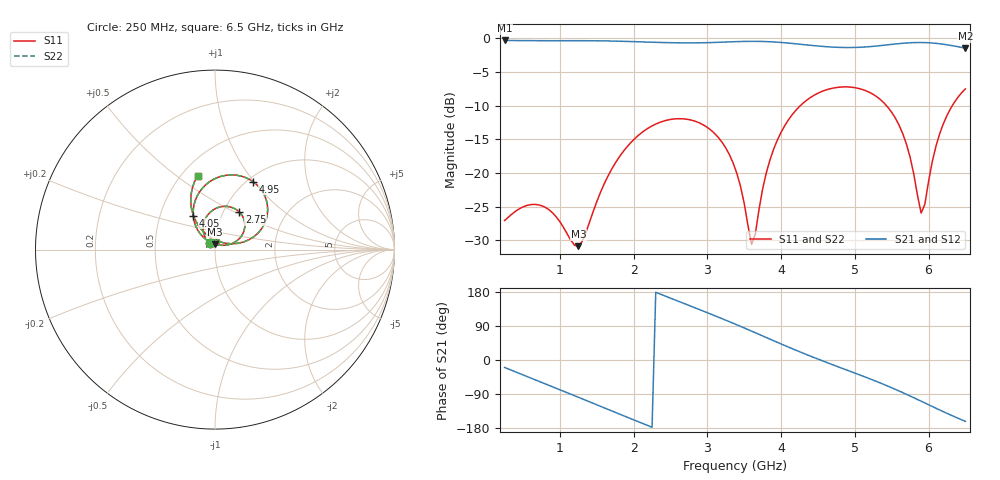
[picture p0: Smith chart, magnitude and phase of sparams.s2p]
! NobuRF kit-fr4-50-line12: ports 1 "p1", 2 "p2"; 4300 + 4300 steps
# GHz S RI R 50
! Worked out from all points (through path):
!   126 points, 250 MHz to 6.5 GHz, reference 50 ohm
!   highest |S21| = -0.32 dB at 250 MHz (marker M1); lowest = -1.5 dB at 6.5 GHz (marker M2)
!   group delay of S21, straight-line fit = 221 ps
!   lowest |S11| = -30.8 dB at 1.25 GHz (marker M3), VSWR 1.06, Z = 49.8 + j2.86 ohm
!   |S11| at or under -10 dB: start of sweep to 4.261 GHz; 5.43 GHz to 6.322 GHz (892.8 MHz wide, 15.2 % of centre)
!   |S22| runs from -30.8 to -7.2 dB; largest |S21 - S12| = 2e-07
!   S11 on the Smith chart (normalised r, x): 250 MHz: 0.95, +0.07; 2.75 GHz: 1.19, +0.53; 4.05 GHz: 0.73, +0.29; 4.95 GHz: 1.06, +0.99; 6.5 GHz: 0.60, +0.60
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0.25  -0.0255 0.0364  0.9073 -0.3247  0.9073 -0.3247  -0.0255 0.0364
0.75  0.0224 0.0528  0.4949 -0.8223  0.4949 -0.8223  0.0224 0.0528
1  0.0235 0.0367  0.1903 -0.9403  0.1903 -0.9403  0.0235 0.0367
1.25  -0.00101 0.0287  -0.1383 -0.9495  -0.1383 -0.9495  -0.00101 0.0287
1.3  -0.00814 0.0299  -0.2036 -0.9376  -0.2036 -0.9376  -0.00814 0.0299
1.6  -0.0519 0.0648  -0.5638 -0.7723  -0.5638 -0.7723  -0.0519 0.0648
1.85  -0.0662 0.1261  -0.7873 -0.5309  -0.7873 -0.5309  -0.0662 0.1261
2.35  0.0226 0.2362  -0.9279 0.0843  -0.9279 0.0843  0.0226 0.2362
2.75  0.1355 0.2094  -0.7482 0.543  -0.7482 0.543  0.1355 0.2094
3.15  0.1576 0.0939  -0.365 0.8595  -0.365 0.8595  0.1576 0.0939
3.4  0.0937 0.0333  -0.0469 0.9434  -0.0469 0.9434  0.0937 0.0333
3.6  0.0117 0.0272  0.2266 0.9217  0.2266 0.9217  0.0117 0.0272
3.65  -0.00997 0.0337  0.2938 0.9024  0.2938 0.9024  -0.00997 0.0337
3.8  -0.0693 0.073  0.4832 0.8123  0.4832 0.8123  -0.0693 0.073
4.05  -0.1213 0.1894  0.7277 0.5734  0.7277 0.5734  -0.1213 0.1894
4.45  -0.0314 0.3773  0.8763 0.0962  0.8763 0.0962  -0.0314 0.3773
4.95  0.2123 0.3784  0.7335 -0.4377  0.7335 -0.4377  0.2123 0.3784
5.5  0.2584 0.1144  0.2603 -0.8628  0.2603 -0.8628  0.2584 0.1144
5.7  0.1587 0.0422  -0.00856 -0.9227  -0.00856 -0.9227  0.1587 0.0422
5.9  0.0247 0.044  -0.2988 -0.8811  -0.2988 -0.8811  0.0247 0.044
6.15  -0.1088 0.1617  -0.6065 -0.6799  -0.6065 -0.6799  -0.1088 0.1617
6.5  -0.0974 0.4102  -0.803 -0.2628  -0.803 -0.2628  -0.0974 0.4102
